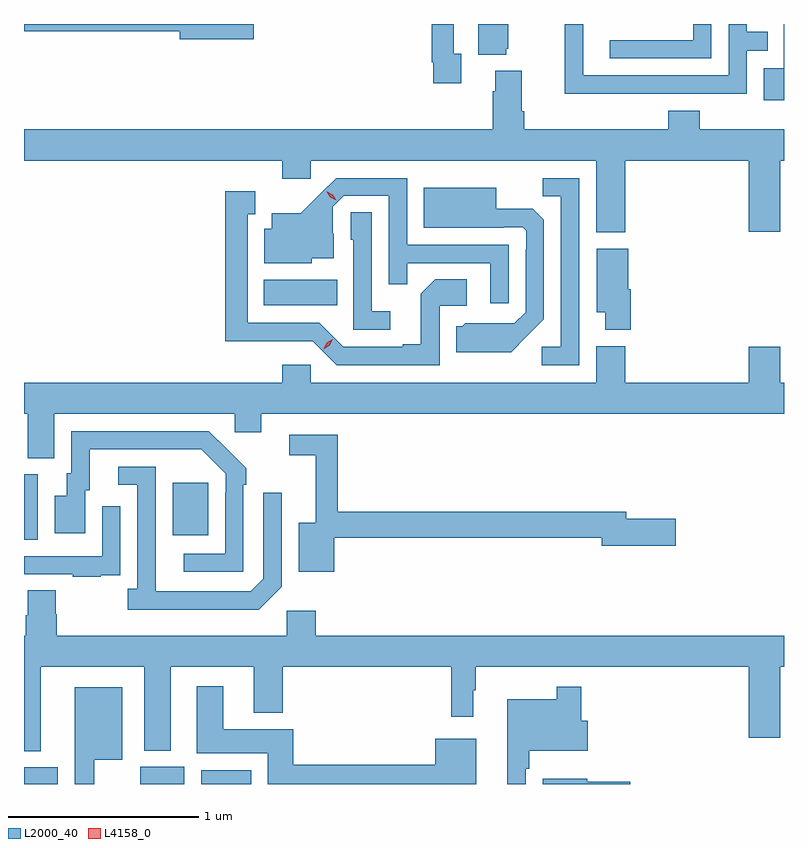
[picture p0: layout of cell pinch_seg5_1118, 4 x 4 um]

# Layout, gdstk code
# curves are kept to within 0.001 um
import gdstk
lib = gdstk.Library(unit=1e-6, precision=1e-09)
def R(c, l, rs):  # rectangles x0, y0, x1, y1
    for r in rs: c.add(gdstk.rectangle(r[:2], r[2:], *l))
def P(c, l, *ps):  # polygons
    for p in ps: c.add(gdstk.Polygon(p, *l))
L2000_40 = (2000, 40)
L4158_0 = (4158, 0)

pinch_seg5_1118 = lib.new_cell('pinch_seg5_1118')
R(pinch_seg5_1118, L2000_40, [(772.581,838.827,772.759,838.915), (773.192,838.827,773.425,838.918), (773.513,838.827,773.776,838.9), (772.581,840.112,772.654,840.456), (773.363,840.137,773.551,840.412), (773.843,841.346,774.23,841.48)])
P(pinch_seg5_1118, L2000_40, [(775.118,842.697),(775.129,842.697),(775.129,842.827),(774.971,842.827),(774.971,842.666),(775.118,842.666)],
  [(776.199,842.827),(776.103,842.827),(776.103,842.742),(775.665,842.742),(775.665,842.646),(776.199,842.646)],
  [(775.889,842.46),(776.385,842.46),(776.385,842.685),(776.495,842.685),(776.495,842.786),(776.385,842.786),(776.385,842.827),(776.289,842.827),(776.289,842.556),(775.524,842.556),(775.524,842.827),(775.428,842.827),(775.428,842.765),(775.426,842.765),(775.426,842.459),(775.889,842.459)],
  [(774.883,842.67),(774.843,842.67),(774.843,842.827),(774.727,842.827),(774.727,842.626),(774.735,842.626),(774.735,842.514),(774.883,842.514)],
  [(773.791,842.827),(772.581,842.827),(772.581,842.788),(773.402,842.788),(773.402,842.746),(773.791,842.746)],
  [(776.581,842.827),(776.579,842.827),(776.579,842.825),(776.58,842.825),(776.58,842.595),(776.475,842.595),(776.475,842.427),(776.581,842.427)],
  [(775.745,842.108),(776.396,842.108),(776.396,841.734),(776.56,841.734),(776.56,842.108),(776.581,842.108),(776.581,842.272),(776.138,842.272),(776.138,842.371),(775.973,842.371),(775.973,842.272),(775.214,842.272),(775.214,842.368),(775.201,842.368),(775.201,842.581),(775.061,842.581),(775.061,842.474),(775.049,842.474),(775.049,842.272),(772.581,842.272),(772.581,842.108),(773.939,842.108),(773.939,842.013),(774.09,842.013),(774.09,842.108),(775.592,842.108),(775.592,841.73),(775.745,841.73)],
  [(775.131,841.665),(774.597,841.665),(774.597,842.016),(774.224,842.016),(774.037,841.831),(773.885,841.831),(773.885,841.75),(773.846,841.75),(773.846,841.568),(774.096,841.568),(774.096,841.595),(774.211,841.595),(774.211,841.724),(774.207,841.724),(774.207,841.866),(774.264,841.923),(774.501,841.923),(774.501,841.456),(774.599,841.456),(774.599,841.569),(775.035,841.569),(775.035,841.356),(775.131,841.356)],
  [(775.503,842.016),(775.312,842.016),(775.312,841.921),(775.407,841.921),(775.407,841.128),(775.305,841.128),(775.305,841.032),(775.503,841.032)],
  [(775.225,841.181),(775.317,841.274),(775.317,841.796),(775.258,841.855),(775.066,841.855),(775.066,841.966),(774.686,841.966),(774.686,841.754),(775.106,841.754),(775.106,841.758),(775.206,841.758),(775.224,841.74),(775.224,841.64),(775.221,841.64),(775.221,841.311),(775.161,841.251),(774.904,841.252),(774.888,841.236),(774.857,841.236),(774.857,841.1),(775.145,841.1)],
  [(774.768,841.344),(774.91,841.344),(774.91,841.484),(774.745,841.484),(774.669,841.408),(774.669,841.141),(774.575,841.141),(774.575,841.128),(774.261,841.128),(774.135,841.254),(773.758,841.254),(773.758,841.827),(773.797,841.827),(773.797,841.948),(773.64,841.948),(773.64,841.157),(774.102,841.158),(774.228,841.032),(774.768,841.032)],
  [(774.508,841.315),(774.411,841.315),(774.411,841.835),(774.3,841.835),(774.3,841.692),(774.315,841.692),(774.315,841.218),(774.508,841.218)],
  [(775.775,841.431),(775.762,841.431),(775.762,841.645),(775.595,841.645),(775.595,841.31),(775.64,841.31),(775.64,841.217),(775.775,841.217)],
  [(772.741,840.776),(773.691,840.776),(773.691,840.678),(773.83,840.678),(773.83,840.776),(776.581,840.776),(776.581,840.94),(776.56,840.94),(776.56,841.129),(776.396,841.129),(776.396,840.94),(775.745,840.94),(775.745,841.132),(775.592,841.132),(775.592,840.94),(774.09,840.94),(774.09,841.033),(773.939,841.033),(773.939,840.94),(772.581,840.94),(772.581,840.776),(772.601,840.776),(772.601,840.541),(772.741,840.541)],
  [(773.736,840.401),(773.751,840.401),(773.751,840.489),(773.554,840.684),(772.83,840.684),(772.83,840.462),(772.805,840.462),(772.805,840.343),(772.742,840.343),(772.742,840.147),(772.903,840.147),(772.903,840.372),(772.927,840.372),(772.927,840.588),(773.515,840.588),(773.643,840.459),(773.643,840.359),(773.64,840.359),(773.64,840.039),(773.421,840.039),(773.421,839.943),(773.736,839.943)],
  [(774.213,840.124),(775.622,840.124),(775.622,840.082),(776.011,840.082),(776.011,840.224),(775.75,840.224),(775.75,840.26),(774.233,840.26),(774.233,840.666),(773.976,840.666),(773.976,840.558),(774.116,840.558),(774.116,840.202),(774.026,840.202),(774.026,839.945),(774.213,839.945)],
  [(773.937,839.865),(773.937,840.361),(773.841,840.361),(773.841,839.907),(773.775,839.841),(773.275,839.841),(773.274,840.498),(773.076,840.498),(773.076,840.402),(773.178,840.402),(773.178,839.854),(773.127,839.854),(773.127,839.744),(773.816,839.744)],
  [(772.985,839.925),(773.087,839.925),(773.087,840.034),(773.088,840.034),(773.088,840.289),(772.992,840.289),(772.992,840.027),(772.581,840.027),(772.581,839.931),(772.837,839.931),(772.837,839.919),(772.985,839.919)],
  [(772.669,839.444),(773.213,839.444),(773.213,839.003),(773.353,839.003),(773.353,839.444),(773.789,839.444),(773.789,839.201),(773.942,839.201),(773.942,839.444),(774.829,839.444),(774.829,839.181),(774.946,839.181),(774.946,839.321),(774.958,839.321),(774.958,839.444),(776.396,839.444),(776.396,839.07),(776.56,839.07),(776.56,839.444),(776.581,839.444),(776.581,839.608),(774.116,839.608),(774.116,839.74),(773.964,839.74),(773.964,839.608),(772.754,839.608),(772.754,839.721),(772.749,839.721),(772.749,839.846),(772.601,839.846),(772.601,839.714),(772.589,839.714),(772.589,839.608),(772.581,839.608),(772.581,839),(772.669,839)],
  [(774.961,839.065),(774.746,839.065),(774.746,838.928),(773.999,838.928),(773.999,839.116),(773.629,839.116),(773.629,839.341),(773.489,839.341),(773.489,838.988),(773.864,838.988),(773.864,838.827),(774.961,838.827)],
  [(775.221,838.907),(775.241,838.907),(775.241,839.003),(775.549,839.003),(775.549,839.161),(775.514,839.161),(775.514,839.338),(775.386,839.338),(775.386,839.272),(775.124,839.272),(775.124,838.827),(775.221,838.827)],
  [(772.951,838.955),(773.098,838.955),(773.098,839.335),(772.847,839.335),(772.847,838.827),(772.951,838.827)],
  [(775.771,838.838),(775.546,838.838),(775.546,838.855),(775.31,838.855),(775.31,838.827),(775.771,838.827)])
P(pinch_seg5_1118, L4158_0, [(774.224,841.9),(774.193,841.914),(774.175,841.944),(774.175,841.944),(774.176,841.944),(774.206,841.929),(774.224,841.9),(774.224,841.9)],
  [(774.158,841.116),(774.158,841.117),(774.175,841.149),(774.207,841.169),(774.207,841.169),(774.207,841.168),(774.19,841.136),(774.158,841.116)])

lib.write_gds('pinch_seg5_1118.gds')
